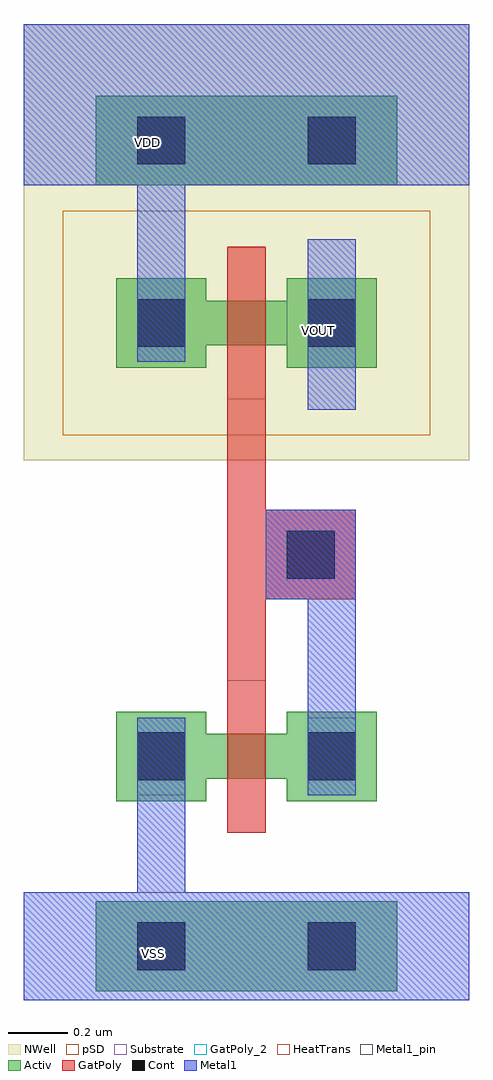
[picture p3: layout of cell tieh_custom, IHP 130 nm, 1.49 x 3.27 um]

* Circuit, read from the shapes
.subckt tieh_custom VDD VOUT VSS
XM1 n1 n1 VSS VSS sg13_lv_nmos w=0.15u l=0.13u
XM2 VOUT n1 VDD VDD sg13_lv_pmos w=0.15u l=0.13u
.ends

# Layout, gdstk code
import gdstk
lib = gdstk.Library(unit=1e-6, precision=5e-09)
def R(c, l, rs):  # rectangles x0, y0, x1, y1
    for r in rs: c.add(gdstk.rectangle(r[:2], r[2:], *l))
Activ = (1, 0)
GatPoly = (5, 0)
GatPoly_2 = (5, 2)
Cont = (6, 0)
Metal1 = (8, 0)
Metal1_pin = (8, 2)
pSD = (14, 0)
NWell = (31, 0)
Substrate = (40, 0)
HeatTrans = (51, 0)

nmos_3 = lib.new_cell('nmos$3')
R(nmos_3, Activ, [(0,0,0.3,0.3), (0.57,0,0.87,0.3), (0,0.075,0.87,0.225)])
R(nmos_3, GatPoly, [(0.37,-0.105,0.5,0.405)])
R(nmos_3, GatPoly_2, [(0.37,-0.105,0.5,0.405)])
R(nmos_3, Cont, [(0.07,0.07,0.23,0.23), (0.64,0.07,0.8,0.23)])
R(nmos_3, Metal1, [(0.07,0.02,0.23,0.28), (0.64,0.02,0.8,0.28)])
R(nmos_3, Metal1_pin, [(0.07,0.02,0.23,0.28), (0.64,0.02,0.8,0.28)])
R(nmos_3, HeatTrans, [(0.37,-0.105,0.5,0.405)])
nmos_3.add(gdstk.Label('nmos', (0.435,0.15), layer=63, texttype=0))
nmos_3.add(gdstk.Label('nmos', (0.435,0.15), layer=51, texttype=0))

pmos_2 = lib.new_cell('pmos$2')
R(pmos_2, Activ, [(0,0,0.3,0.3), (0.57,0,0.87,0.3), (0,0.075,0.87,0.225)])
R(pmos_2, GatPoly, [(0.37,-0.105,0.5,0.405), (0.37,-0.105,0.5,0.405)])
R(pmos_2, Cont, [(0.07,0.07,0.23,0.23), (0.64,0.07,0.8,0.23)])
R(pmos_2, Metal1, [(0.07,0.02,0.23,0.28), (0.07,0.02,0.23,0.28), (0.64,0.02,0.8,0.28), (0.64,0.02,0.8,0.28)])
R(pmos_2, pSD, [(-0.18,-0.225,1.05,0.525)])
R(pmos_2, NWell, [(-0.31,-0.31,1.18,0.61)])
R(pmos_2, Substrate, [(0.57,0,0.87,0.3)])
R(pmos_2, HeatTrans, [(0.37,-0.105,0.5,0.405)])
pmos_2.add(gdstk.Label('pmos', (0.435,0.15), layer=63, texttype=0))
pmos_2.add(gdstk.Label('pmos', (0.435,0.15), layer=51, texttype=0))

nmos_7 = lib.new_cell('nmos$7')
R(nmos_7, Activ, [(0,0,0.3,0.3), (0.57,0,0.87,0.3), (0,0.075,0.87,0.225)])
R(nmos_7, GatPoly, [(0.37,-0.105,0.5,0.405)])
R(nmos_7, GatPoly_2, [(0.37,-0.105,0.5,0.405)])
R(nmos_7, Cont, [(0.07,0.07,0.23,0.23), (0.64,0.07,0.8,0.23)])
R(nmos_7, Metal1, [(0.07,0.02,0.23,0.28), (0.64,0.02,0.8,0.28)])
R(nmos_7, Metal1_pin, [(0.07,0.02,0.23,0.28), (0.64,0.02,0.8,0.28)])
R(nmos_7, HeatTrans, [(0.37,-0.105,0.5,0.405)])
nmos_7.add(gdstk.Label('nmos', (0.435,0.15), layer=63, texttype=0))
nmos_7.add(gdstk.Label('nmos', (0.435,0.15), layer=51, texttype=0))

pmos_5 = lib.new_cell('pmos$5')
R(pmos_5, Activ, [(0,0,0.3,0.3), (0.57,0,0.87,0.3), (0,0.075,0.87,0.225)])
R(pmos_5, GatPoly, [(0.37,-0.105,0.5,0.405), (0.37,-0.105,0.5,0.405)])
R(pmos_5, Cont, [(0.07,0.07,0.23,0.23), (0.64,0.07,0.8,0.23)])
R(pmos_5, Metal1, [(0.07,0.02,0.23,0.28), (0.07,0.02,0.23,0.28), (0.64,0.02,0.8,0.28), (0.64,0.02,0.8,0.28)])
R(pmos_5, pSD, [(-0.18,-0.225,1.05,0.525)])
R(pmos_5, NWell, [(-0.31,-0.31,1.18,0.61)])
R(pmos_5, Substrate, [(0.57,0,0.87,0.3)])
R(pmos_5, HeatTrans, [(0.37,-0.105,0.5,0.405)])
pmos_5.add(gdstk.Label('pmos', (0.435,0.15), layer=63, texttype=0))
pmos_5.add(gdstk.Label('pmos', (0.435,0.15), layer=51, texttype=0))

nmos_3_4 = lib.new_cell('nmos$3$4')
R(nmos_3_4, Activ, [(0,0,0.3,0.3), (0.57,0,0.87,0.3), (0,0.075,0.87,0.225)])
R(nmos_3_4, GatPoly, [(0.37,-0.105,0.5,0.405)])
R(nmos_3_4, GatPoly_2, [(0.37,-0.105,0.5,0.405)])
R(nmos_3_4, Cont, [(0.07,0.07,0.23,0.23), (0.64,0.07,0.8,0.23)])
R(nmos_3_4, Metal1, [(0.07,0.02,0.23,0.28), (0.64,0.02,0.8,0.28)])
R(nmos_3_4, Metal1_pin, [(0.07,0.02,0.23,0.28), (0.64,0.02,0.8,0.28)])
R(nmos_3_4, HeatTrans, [(0.37,-0.105,0.5,0.405)])
nmos_3_4.add(gdstk.Label('nmos', (0.435,0.15), layer=63, texttype=0))
nmos_3_4.add(gdstk.Label('nmos', (0.435,0.15), layer=51, texttype=0))

pmos_2_1 = lib.new_cell('pmos$2$1')
R(pmos_2_1, Activ, [(0,0,0.3,0.3), (0.57,0,0.87,0.3), (0,0.075,0.87,0.225)])
R(pmos_2_1, GatPoly, [(0.37,-0.105,0.5,0.405), (0.37,-0.105,0.5,0.405)])
R(pmos_2_1, Cont, [(0.07,0.07,0.23,0.23), (0.64,0.07,0.8,0.23)])
R(pmos_2_1, Metal1, [(0.07,0.02,0.23,0.28), (0.07,0.02,0.23,0.28), (0.64,0.02,0.8,0.28), (0.64,0.02,0.8,0.28)])
R(pmos_2_1, pSD, [(-0.18,-0.225,1.05,0.525)])
R(pmos_2_1, NWell, [(-0.31,-0.31,1.18,0.61)])
R(pmos_2_1, Substrate, [(0.57,0,0.87,0.3)])
R(pmos_2_1, HeatTrans, [(0.37,-0.105,0.5,0.405)])
pmos_2_1.add(gdstk.Label('pmos', (0.435,0.15), layer=63, texttype=0))
pmos_2_1.add(gdstk.Label('pmos', (0.435,0.15), layer=51, texttype=0))

nmos_7_2 = lib.new_cell('nmos$7$2')
R(nmos_7_2, Activ, [(0,0,0.3,0.3), (0.57,0,0.87,0.3), (0,0.075,0.87,0.225)])
R(nmos_7_2, GatPoly, [(0.37,-0.105,0.5,0.405)])
R(nmos_7_2, GatPoly_2, [(0.37,-0.105,0.5,0.405)])
R(nmos_7_2, Cont, [(0.07,0.07,0.23,0.23), (0.64,0.07,0.8,0.23)])
R(nmos_7_2, Metal1, [(0.07,0.02,0.23,0.28), (0.64,0.02,0.8,0.28)])
R(nmos_7_2, Metal1_pin, [(0.07,0.02,0.23,0.28), (0.64,0.02,0.8,0.28)])
R(nmos_7_2, HeatTrans, [(0.37,-0.105,0.5,0.405)])
nmos_7_2.add(gdstk.Label('nmos', (0.435,0.15), layer=63, texttype=0))
nmos_7_2.add(gdstk.Label('nmos', (0.435,0.15), layer=51, texttype=0))

pmos_5_1 = lib.new_cell('pmos$5$1')
R(pmos_5_1, Activ, [(0,0,0.3,0.3), (0.57,0,0.87,0.3), (0,0.075,0.87,0.225)])
R(pmos_5_1, GatPoly, [(0.37,-0.105,0.5,0.405), (0.37,-0.105,0.5,0.405)])
R(pmos_5_1, Cont, [(0.07,0.07,0.23,0.23), (0.64,0.07,0.8,0.23)])
R(pmos_5_1, Metal1, [(0.07,0.02,0.23,0.28), (0.07,0.02,0.23,0.28), (0.64,0.02,0.8,0.28), (0.64,0.02,0.8,0.28)])
R(pmos_5_1, pSD, [(-0.18,-0.225,1.05,0.525)])
R(pmos_5_1, NWell, [(-0.31,-0.31,1.18,0.61)])
R(pmos_5_1, Substrate, [(0.57,0,0.87,0.3)])
R(pmos_5_1, HeatTrans, [(0.37,-0.105,0.5,0.405)])
pmos_5_1.add(gdstk.Label('pmos', (0.435,0.15), layer=63, texttype=0))
pmos_5_1.add(gdstk.Label('pmos', (0.435,0.15), layer=51, texttype=0))

nmos_17 = lib.new_cell('nmos$17')
R(nmos_17, Activ, [(0,0,0.3,0.3), (0.57,0,0.87,0.3), (0,0.075,0.87,0.225)])
R(nmos_17, GatPoly, [(0.37,-0.105,0.5,0.405)])
R(nmos_17, GatPoly_2, [(0.37,-0.105,0.5,0.405)])
R(nmos_17, Cont, [(0.07,0.07,0.23,0.23), (0.64,0.07,0.8,0.23)])
R(nmos_17, Metal1, [(0.07,0.02,0.23,0.28), (0.64,0.02,0.8,0.28)])
R(nmos_17, Metal1_pin, [(0.07,0.02,0.23,0.28), (0.64,0.02,0.8,0.28)])
R(nmos_17, HeatTrans, [(0.37,-0.105,0.5,0.405)])
nmos_17.add(gdstk.Label('nmos', (0.435,0.15), layer=63, texttype=0))
nmos_17.add(gdstk.Label('nmos', (0.435,0.15), layer=51, texttype=0))

pmos_9 = lib.new_cell('pmos$9')
R(pmos_9, Activ, [(0,0,0.3,0.3), (0.57,0,0.87,0.3), (0,0.075,0.87,0.225)])
R(pmos_9, GatPoly, [(0.37,-0.105,0.5,0.405), (0.37,-0.105,0.5,0.405)])
R(pmos_9, Cont, [(0.07,0.07,0.23,0.23), (0.64,0.07,0.8,0.23)])
R(pmos_9, Metal1, [(0.07,0.02,0.23,0.28), (0.07,0.02,0.23,0.28), (0.64,0.02,0.8,0.28), (0.64,0.02,0.8,0.28)])
R(pmos_9, pSD, [(-0.18,-0.225,1.05,0.525)])
R(pmos_9, NWell, [(-0.31,-0.31,1.18,0.61)])
R(pmos_9, Substrate, [(0.57,0,0.87,0.3)])
R(pmos_9, HeatTrans, [(0.37,-0.105,0.5,0.405)])
pmos_9.add(gdstk.Label('pmos', (0.435,0.15), layer=63, texttype=0))
pmos_9.add(gdstk.Label('pmos', (0.435,0.15), layer=51, texttype=0))

tieh_custom = lib.new_cell('tieh_custom')
R(tieh_custom, Activ, [(0.975,0.805,1.985,1.105), (0.975,0.805,1.985,1.105), (0.975,0.805,1.985,1.105), (0.975,0.805,1.985,1.105), (0.975,0.805,1.985,1.105), (0.975,3.5,1.985,3.8), (0.975,3.5,1.985,3.8), (0.975,3.5,1.985,3.8), (0.975,3.5,1.985,3.8), (0.975,3.5,1.985,3.8)])
R(tieh_custom, GatPoly, [(1.415,1.335,1.545,3.295), (1.415,1.335,1.545,3.295), (1.415,1.335,1.545,3.295), (1.415,1.335,1.545,3.295), (1.415,1.335,1.545,3.295), (1.545,2.115,1.845,2.415), (1.545,2.115,1.845,2.415), (1.545,2.115,1.845,2.415), (1.545,2.115,1.845,2.415), (1.545,2.115,1.845,2.415)])
R(tieh_custom, Cont, [(1.115,0.875,1.275,1.035), (1.115,0.875,1.275,1.035), (1.115,0.875,1.275,1.035), (1.115,0.875,1.275,1.035), (1.115,0.875,1.275,1.035), (1.685,0.875,1.845,1.035), (1.685,0.875,1.845,1.035), (1.685,0.875,1.845,1.035), (1.685,0.875,1.845,1.035), (1.685,0.875,1.845,1.035), (1.615,2.185,1.775,2.345), (1.615,2.185,1.775,2.345), (1.615,2.185,1.775,2.345), (1.615,2.185,1.775,2.345), (1.615,2.185,1.775,2.345), (1.115,3.57,1.275,3.73), (1.115,3.57,1.275,3.73), (1.115,3.57,1.275,3.73), (1.115,3.57,1.275,3.73), (1.115,3.57,1.275,3.73), (1.685,3.57,1.845,3.73), (1.685,3.57,1.845,3.73), (1.685,3.57,1.845,3.73), (1.685,3.57,1.845,3.73), (1.685,3.57,1.845,3.73)])
R(tieh_custom, Metal1, [(0.735,0.775,2.225,1.135), (0.735,0.775,2.225,1.135), (0.735,0.775,2.225,1.135), (0.735,0.775,2.225,1.135), (0.735,0.775,2.225,1.135), (1.115,0.805,1.275,1.72), (1.115,0.805,1.275,1.72), (1.115,0.805,1.275,1.72), (1.115,0.805,1.275,1.72), (1.115,0.805,1.275,1.72), (1.685,1.46,1.845,2.345), (1.685,1.46,1.845,2.345), (1.685,1.46,1.845,2.345), (1.685,1.46,1.845,2.345), (1.685,1.46,1.845,2.345), (1.545,2.115,1.845,2.415), (1.545,2.115,1.845,2.415), (1.545,2.115,1.845,2.415), (1.545,2.115,1.845,2.415), (1.545,2.115,1.845,2.415), (1.615,2.185,1.845,2.345), (1.615,2.185,1.845,2.345), (1.615,2.185,1.845,2.345), (1.615,2.185,1.845,2.345), (1.615,2.185,1.845,2.345), (1.685,2.75,1.845,3.32), (1.685,2.75,1.845,3.32), (1.685,2.75,1.845,3.32), (1.685,2.75,1.845,3.32), (1.685,2.75,1.845,3.32), (1.115,2.91,1.275,3.8), (1.115,2.91,1.275,3.8), (1.115,2.91,1.275,3.8), (1.115,2.91,1.275,3.8), (1.115,2.91,1.275,3.8), (0.735,3.5,2.225,4.04), (0.735,3.5,2.225,4.04), (0.735,3.5,2.225,4.04), (0.735,3.5,2.225,4.04), (0.735,3.5,2.225,4.04)])
R(tieh_custom, Metal1_pin, [(0.735,0.775,2.225,1.135), (0.735,0.775,2.225,1.135), (0.735,0.775,2.225,1.135), (0.735,0.775,2.225,1.135), (0.735,0.775,2.225,1.135), (1.545,2.115,1.845,2.415), (1.545,2.115,1.845,2.415), (1.545,2.115,1.845,2.415), (1.545,2.115,1.845,2.415), (1.545,2.115,1.845,2.415), (1.685,2.75,1.845,3.32), (1.685,2.75,1.845,3.32), (1.685,2.75,1.845,3.32), (1.685,2.75,1.845,3.32), (1.685,2.75,1.845,3.32), (0.735,3.5,2.225,4.04), (0.735,3.5,2.225,4.04), (0.735,3.5,2.225,4.04), (0.735,3.5,2.225,4.04), (0.735,3.5,2.225,4.04)])
R(tieh_custom, pSD, [(0.735,0.775,2.225,1.135), (0.735,0.775,2.225,1.135), (0.735,0.775,2.225,1.135), (0.735,0.775,2.225,1.135), (0.735,0.775,2.225,1.135)])
R(tieh_custom, NWell, [(0.735,3.5,2.225,4.04), (0.735,3.5,2.225,4.04), (0.735,3.5,2.225,4.04), (0.735,3.5,2.225,4.04), (0.735,3.5,2.225,4.04)])
tieh_custom.add(gdstk.Reference(nmos_3, (1.045,1.44)))
tieh_custom.add(gdstk.Reference(pmos_2, (1.045,2.89)))
tieh_custom.add(gdstk.Reference(nmos_7, (1.045,1.44)))
tieh_custom.add(gdstk.Reference(pmos_5, (1.045,2.89)))
tieh_custom.add(gdstk.Reference(nmos_3_4, (1.045,1.44)))
tieh_custom.add(gdstk.Reference(pmos_2_1, (1.045,2.89)))
tieh_custom.add(gdstk.Reference(nmos_7_2, (1.045,1.44)))
tieh_custom.add(gdstk.Reference(pmos_5_1, (1.045,2.89)))
tieh_custom.add(gdstk.Reference(nmos_17, (1.045,1.44)))
tieh_custom.add(gdstk.Reference(pmos_9, (1.045,2.89)))
tieh_custom.add(gdstk.Label('VSS', (1.17,0.93), layer=8, texttype=25))
tieh_custom.add(gdstk.Label('VDD', (1.15,3.645), layer=8, texttype=25))
tieh_custom.add(gdstk.Label('VOUT', (1.72,3.015), layer=8, texttype=25))
tieh_custom.add(gdstk.Label('VSS', (1.17,0.93), layer=8, texttype=25))
tieh_custom.add(gdstk.Label('VDD', (1.15,3.645), layer=8, texttype=25))
tieh_custom.add(gdstk.Label('VOUT', (1.72,3.015), layer=8, texttype=25))
tieh_custom.add(gdstk.Label('VSS', (1.17,0.93), layer=8, texttype=25))
tieh_custom.add(gdstk.Label('VDD', (1.15,3.645), layer=8, texttype=25))
tieh_custom.add(gdstk.Label('VOUT', (1.72,3.015), layer=8, texttype=25))
tieh_custom.add(gdstk.Label('VSS', (1.17,0.93), layer=8, texttype=25))
tieh_custom.add(gdstk.Label('VDD', (1.15,3.645), layer=8, texttype=25))
tieh_custom.add(gdstk.Label('VOUT', (1.72,3.015), layer=8, texttype=25))
tieh_custom.add(gdstk.Label('VSS', (1.17,0.93), layer=8, texttype=25))
tieh_custom.add(gdstk.Label('VDD', (1.15,3.645), layer=8, texttype=25))
tieh_custom.add(gdstk.Label('VOUT', (1.72,3.015), layer=8, texttype=25))

lib.write_gds('tieh_custom.gds')
